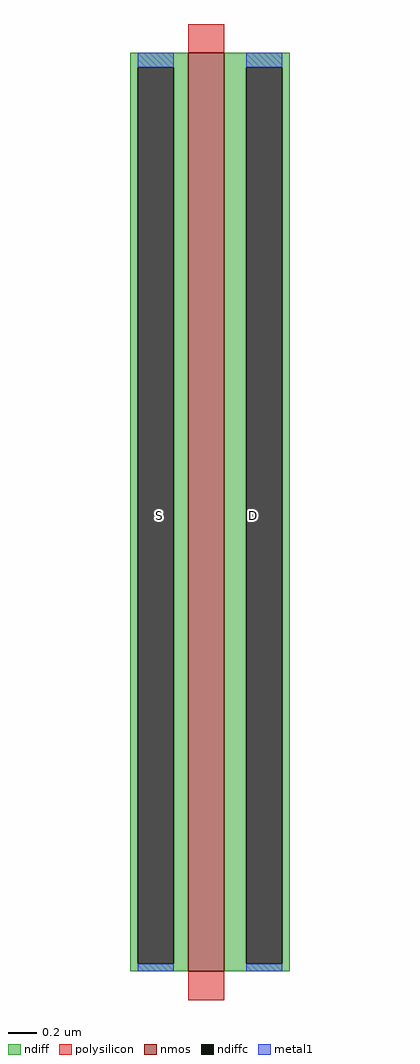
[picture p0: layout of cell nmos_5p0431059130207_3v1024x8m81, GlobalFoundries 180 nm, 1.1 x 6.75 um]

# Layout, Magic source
magic
tech gf180mcuD
<< nmos >>
rect 0 0 5 127
<< ndiff >>
rect -8 125 0 127
rect -8 1 -7 125
rect -2 1 0 125
rect -8 0 0 1
rect 5 125 14 127
rect 5 1 8 125
rect 13 1 14 125
rect 5 0 14 1
<< ndiffc >>
rect -7 1 -2 125
rect 8 1 13 125
<< polysilicon >>
rect 0 127 5 131
rect 0 -4 5 0
<< metal1 >>
rect -7 125 -2 127
rect -7 0 -2 1
rect 8 125 13 127
rect 8 0 13 1
<< labels >>
flabel ndiffc -4 63 -4 63 0 FreeSans 9 0 0 0 S
flabel ndiffc 9 63 9 63 0 FreeSans 9 0 0 0 D
<< end >>
